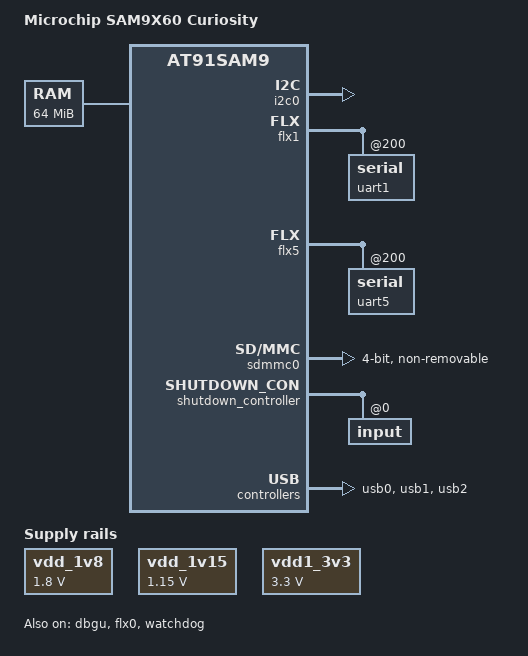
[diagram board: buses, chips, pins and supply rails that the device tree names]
// SPDX-License-Identifier: (GPL-2.0+ OR MIT)
/*
 * at91-sam9x60_curiosity.dts - Device Tree file for Microchip SAM9X60 Curiosity board
 *
 * Copyright (C) 2022 Microchip Technology Inc. and its subsidiaries
 *
 * Author: Durai Manickam KR <durai.manickamkr@microchip.com>
 */
/dts-v1/;
#include "sam9x60.dtsi"
#include <dt-bindings/input/input.h>

/ {
	model = "Microchip SAM9X60 Curiosity";
	compatible = "microchip,sam9x60-curiosity", "microchip,sam9x60", "atmel,at91sam9";

	aliases {
		i2c0 = &i2c0;
		serial1 = &uart1;
		serial2 = &uart5;
	};

	chosen {
		stdout-path = "serial0:115200n8";
	};

	memory@20000000 {
		// 64MB DDR cglee
		reg = <0x20000000 0x4000000>;
		// 128MB DDR
		// reg = <0x20000000 0x8000000>;
	};

	clocks {
		slow_xtal {
			clock-frequency = <32768>;
		};

		main_xtal {
			clock-frequency = <24000000>;
		};
	};

	vdd_1v8: regulator-0 {
		compatible = "regulator-fixed";
		regulator-always-on;
		regulator-max-microvolt = <1800000>;
		regulator-min-microvolt = <1800000>;
		regulator-name = "VDD_1V8";
	};

	vdd_1v15: regulator-1 {
		compatible = "regulator-fixed";
		regulator-always-on;
		regulator-max-microvolt = <1150000>;
		regulator-min-microvolt = <1150000>;
		regulator-name = "VDD_1V15";
	};

	vdd1_3v3: regulator-2 {
		compatible = "regulator-fixed";
		regulator-always-on;
		regulator-max-microvolt = <3300000>;
		regulator-min-microvolt = <3300000>;
		regulator-name = "VDD1_3V3";
	};
};


&dbgu {
	pinctrl-names = "default";
	pinctrl-0 = <&pinctrl_dbgu>;
	status = "okay"; /* Conflict with can0. */
};

&flx0 {
	atmel,flexcom-mode = <ATMEL_FLEXCOM_MODE_TWI>;
	status = "okay";

	i2c0: i2c@600 {
		dmas = <0>, <0>;
		pinctrl-names = "default";
		pinctrl-0 = <&pinctrl_flx0_default>;
		#address-cells = <1>;
		#size-cells = <0>;
		i2c-analog-filter;
		i2c-digital-filter;
		i2c-digital-filter-width-ns = <35>;
		status = "okay";
	};
};

&flx1 {
	atmel,flexcom-mode = <ATMEL_FLEXCOM_MODE_USART>;
	status = "okay";

	uart1: serial@200 {
		pinctrl-names = "default";
		pinctrl-0 = <&pinctrl_flx1_default>;
		status = "okay";
	};
};

&flx5 {
	atmel,flexcom-mode = <ATMEL_FLEXCOM_MODE_USART>;
	status = "okay";

	uart5: serial@200 {
		pinctrl-names = "default";
		pinctrl-0 = <&pinctrl_flx5_default>;
		status = "okay";
	};
};

&pinctrl {
	dbgu {
		pinctrl_dbgu: dbgu-0 {
			atmel,pins = <AT91_PIOA 9 AT91_PERIPH_A AT91_PINCTRL_PULL_UP
				      AT91_PIOA 10 AT91_PERIPH_A AT91_PINCTRL_NONE>;
		};
	};

	flexcom {
		pinctrl_flx0_default: flx0-twi {
			atmel,pins =
				<AT91_PIOA 0 AT91_PERIPH_A AT91_PINCTRL_PULL_UP
				 AT91_PIOA 1 AT91_PERIPH_A AT91_PINCTRL_PULL_UP>;
		};

		pinctrl_flx1_default: flx1-usart {
			atmel,pins =
				<AT91_PIOA 5 AT91_PERIPH_A AT91_PINCTRL_NONE
				 AT91_PIOA 6 AT91_PERIPH_A AT91_PINCTRL_NONE>;
		};

		pinctrl_flx5_default: flx5-usart {
			atmel,pins =
				<AT91_PIOA 21 AT91_PERIPH_B AT91_PINCTRL_NONE
				 AT91_PIOA 22 AT91_PERIPH_B AT91_PINCTRL_NONE>;
		};
	};

	sdmmc0 {
		pinctrl_sdmmc0_default: sdmmc0 {
			atmel,pins =
				<AT91_PIOA 17 AT91_PERIPH_A (AT91_PINCTRL_DRIVE_STRENGTH_HI)				/* PA17 CK  periph A with pullup */
				 AT91_PIOA 16 AT91_PERIPH_A (AT91_PINCTRL_PULL_UP | AT91_PINCTRL_DRIVE_STRENGTH_HI)	/* PA16 CMD periph A with pullup */
				 AT91_PIOA 15 AT91_PERIPH_A (AT91_PINCTRL_PULL_UP | AT91_PINCTRL_DRIVE_STRENGTH_HI)	/* PA15 DAT0 periph A */
				 AT91_PIOA 18 AT91_PERIPH_A (AT91_PINCTRL_PULL_UP | AT91_PINCTRL_DRIVE_STRENGTH_HI)	/* PA18 DAT1 periph A with pullup */
				 AT91_PIOA 19 AT91_PERIPH_A (AT91_PINCTRL_PULL_UP | AT91_PINCTRL_DRIVE_STRENGTH_HI)	/* PA19 DAT2 periph A with pullup */
				 AT91_PIOA 20 AT91_PERIPH_A (AT91_PINCTRL_PULL_UP | AT91_PINCTRL_DRIVE_STRENGTH_HI)>;	/* PA20 DAT3 periph A with pullup */
		};
	};

	usb0 {
		pinctrl_usba_vbus: usba-vbus {
			atmel,pins = <AT91_PIOA 27 AT91_PERIPH_GPIO AT91_PINCTRL_NONE>;
		};
	};

	usb1 {
		pinctrl_usb_default: usb-default {
			atmel,pins = <AT91_PIOC 9 AT91_PERIPH_GPIO AT91_PINCTRL_NONE>;
					// AT91_PIOD 18 AT91_PERIPH_GPIO AT91_PINCTRL_NONE
				    //  AT91_PIOD 15 AT91_PERIPH_GPIO AT91_PINCTRL_NONE>;
		};
	};
}; /* pinctrl */


&rtt {
	atmel,rtt-rtc-time-reg = <&gpbr 0x0>;
};

&sdmmc0 {
	dmas = <0>, <0>;
	bus-width = <4>;
	pinctrl-names = "default";
	pinctrl-0 = <&pinctrl_sdmmc0_default>;
	non-removable;
	status = "okay";
};

&rtt {
	atmel,rtt-rtc-time-reg = <&gpbr 0x0>;
};

&shutdown_controller {
	debounce-delay-us = <976>;
	status = "okay";

	input@0 {
		reg = <0>;
	};
};

&tcb0 {
	timer0: timer@0 {
		compatible = "atmel,tcb-timer";
		reg = <0>;
	};

	timer1: timer@1 {
		compatible = "atmel,tcb-timer";
		reg = <1>;
	};
};

&usb0 {
	atmel,vbus-gpio = <&pioA 27 GPIO_ACTIVE_HIGH>;
	pinctrl-names = "default";
	pinctrl-0 = <&pinctrl_usba_vbus>;
	status = "okay";
};

&usb1 {
	num-ports = <3>;
	atmel,vbus-gpio = <0 &pioC 9 GPIO_ACTIVE_HIGH>;
			   //&pioD 18 GPIO_ACTIVE_HIGH
			   //&pioD 15 GPIO_ACTIVE_HIGH>;
	pinctrl-names = "default";
	pinctrl-0 = <&pinctrl_usb_default>;
	status = "okay";
};

&usb2 {
	status = "okay";
};

&watchdog {
	status = "okay";
};
